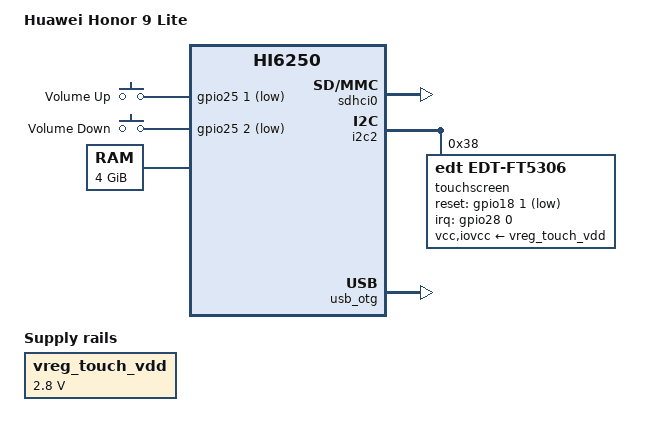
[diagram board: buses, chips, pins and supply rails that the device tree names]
// SPDX-License-Identifier: GPL-2.0-only
/*
 * Device tree for Huawei Honor 9 Lite (LLD-L31)
 *
 * Copyright (C) 2026
 */

/dts-v1/;

#include "hi6250.dtsi"
#include "hi6250-pinctrl.dtsi"
#include "hi6250-huawei-bl-quirks.dtsi"
#include <dt-bindings/input/linux-event-codes.h>
#include <dt-bindings/interrupt-controller/irq.h>

/ {
	model = "Huawei Honor 9 Lite";
	compatible = "huawei,leland", "hisilicon,hi6250";
	chassis-type = "handset";

	aliases {

	};

	/*
	 * Fixed regulator standing in for the PMIC LDOs (ldo17 vci,
	 * ldo4 vddio) that power the touchscreen. The Huawei BL has
	 * already enabled both rails by the time the kernel takes over;
	 * since we don't bind the PMIC driver in mainline (it crashes
	 * Sxmo — see project_leland_pmic_chip.md), nothing in the kernel
	 * touches them. Declaring an always-on fixed regulator here
	 * satisfies cypress,tt21000's required `vdd-supply` binding
	 * without the kernel having to control the rail.
	 */
	vreg_touch_vdd: regulator-touch-vdd {
		compatible = "regulator-fixed";
		regulator-name = "touch-vdd";
		regulator-min-microvolt = <2800000>;
		regulator-max-microvolt = <2800000>;
		regulator-always-on;
		regulator-boot-on;
	};

	gpio-keys {
		compatible = "gpio-keys";
		autorepeat;

		key-vol-up {
			label = "Volume Up";
			gpios = <&gpio25 1 GPIO_ACTIVE_LOW>;
			linux,code = <KEY_VOLUMEUP>;
			debounce-interval = <50>;
		};

		key-vol-down {
			label = "Volume Down";
			gpios = <&gpio25 2 GPIO_ACTIVE_LOW>;
			linux,code = <KEY_VOLUMEDOWN>;
			debounce-interval = <50>;
		};
	};

	memory@0 {
		device_type = "memory";
		reg = <0x0 0x00400000 0x0 0xDFC00000>,	/* 0x00400000 - 0xDFFFFFFF */
		      <0x1 0x00000000 0x0 0x20000000>;	/* 0x100000000 - 0x11FFFFFFF */
	};

	chosen {
		bootargs = "console=tty0 loglevel=8 root=/dev/mmcblk0p51 rootfstype=ext4 rw rootwait";

		#address-cells = <2>;
		#size-cells = <2>;
		ranges;

		stdout-path = "framebuffer0";

		framebuffer0: framebuffer@5d000000 {
			compatible = "simple-framebuffer";
			reg = <0 0x5d000000 0 (1080 * 2160 * 4)>;
			width = <1080>;
			height = <2160>;
			stride = <(1080 * 4)>;
			format = "a8r8g8b8";
			status = "okay";
		};
	};

	reserved-memory {
		#address-cells = <2>;
		#size-cells = <2>;
		ranges;

		/* Bootloader framebuffer - keep for simplefb */
		framebuffer_reserved: framebuffer@5d000000 {
			reg = <0x0 0x5d000000 0x0 0x8E6000>;
			no-map;
		};

		/*
		 * The Huawei BL reserves 0x34800000-0x348fffff for its own
		 * `pstore-mem` and clobbers it on cold boot, so a ramoops
		 * region at that address never captures console data across
		 * a reset. Move into the gap between isp-boot@34b00000 (ends
		 * 0x34b1ffff) and hifi-data@34f00000 (starts 0x34f00000).
		 * 0x34c00000 has been verified to survive BL hand-off.
		 */
		ramoops@34c00000 {
			compatible = "ramoops";
			reg = <0x0 0x34c00000 0x0 0x100000>;
			record-size = <0x20000>;
			pmsg-size = <0x20000>;
			console-size = <0x80000>;
			ftrace-size = <0x00000>;
		};
	};

};

/*
 * Powerhold pin — pulling gpio25 pin 4 low tells the PMIC enable
 * hold input to release main rails (the only software-triggerable
 * true power-off on this board). Per stock `hisi,powerhold` node
 * across all LLD-* DTBs in backup/partitions/dts.img: PL061 base
 * 0xfff0e000 (gpio25), offset 4, ACTIVE_HIGH-while-running so
 * driving low cuts power.
 *
 * Used by hi6250-reboot.c via `huawei,powerhold-gpios` instead of
 * the generic gpio-poweroff driver — the generic driver toggles
 * LOW→HIGH→LOW which the hi6555c PMIC seems to mis-debounce. The
 * downstream Huawei kernel issues a single LOW pulse and waits.
 */
&hi6250_reboot {
	huawei,powerhold-gpios = <&gpio25 4 GPIO_ACTIVE_LOW>;
};

/* Enable eMMC */
&sdhci0 {
	status = "okay";
};

/*
 * Pinmux + pad-config controllers must be on for the i2c2 pinctrl
 * references below to do anything. pmx0/pmx1 are mux registers
 * (M0/M1/M2 etc.); pmx2/pmx3 are pad config (pull, drive strength,
 * slew). hi6250-pinctrl.dtsi defines i2c2_pmx_func in pmx1 and
 * i2c2_cfg_func in pmx3, both of which need to be probed.
 */
&pmx0 { status = "okay"; };
&pmx1 { status = "okay"; };
&pmx2 { status = "okay"; };
&pmx3 { status = "okay"; };

/*
 * Enable i2c2 for the touchscreen. The stock LLD-* DTBs probe three
 * touchscreen vendors on i2c2 (parade @ 0x1c, focaltech @ 0x38,
 * goodix @ 0x14) and bind whichever responds. On this LLD-L31 unit
 * a manual i2c bus scan after enabling LDO17 finds a device at
 * 0x38 — so the panel is FocalTech FT5x06-family. Mainline
 * `edt-ft5x06` driver supports it via `edt,edt-ft5306` (4.3"-7"
 * panels — Honor 9 Lite is 5.65").
 *
 * IRQ on gpio28 pin 0, reset on gpio18 pin 1 (same wiring used for
 * all three vendors per stock ts_kit).
 */
&i2c2 {
	status = "okay";
	pinctrl-names = "default";
	pinctrl-0 = <&i2c2_pmx_func &i2c2_cfg_func>;
	#address-cells = <1>;
	#size-cells = <0>;

	touchscreen@38 {
		compatible = "edt,edt-ft5306";
		reg = <0x38>;
		interrupt-parent = <&gpio28>;
		interrupts = <0 IRQ_TYPE_EDGE_FALLING>;
		reset-gpios = <&gpio18 1 GPIO_ACTIVE_LOW>;
		vcc-supply = <&vreg_touch_vdd>;
		iovcc-supply = <&vreg_touch_vdd>;
		touchscreen-size-x = <1080>;
		touchscreen-size-y = <2160>;
	};
};

/* Enable USB2 OTG */
&usb_otg {
	status = "okay";
	/*
	 * Empirical: with the CTRL0 bit-layout fix in place, this is the
	 * value that lets the HS chirp succeed and the gadget enumerate
	 * (also matches downstream linux-huawei-leland DTS). The stock-BL
	 * handoff value 0x05cd06db produces FS-only / EPROTO chaos.
	 */
	hisilicon,eye-diagram-param = <0x059066DB>;
};

/*
 * NOTE: tried enabling &pmic (hisilicon,hi655x-pmic) with
 * pmic-gpios = <&gpio23 7 GPIO_ACTIVE_HIGH> to bring up the powerkey
 * sub-driver. Booted past Sxmo UI, then hard-reset within seconds —
 * even with regulator-always-on on every dtsi-listed LDO. Downstream
 * ramoops shows the chip is actually "hi6555c", which may differ from
 * the hi655x register layout the mainline driver assumes. Powerkey
 * needs a different approach (custom driver against the working
 * pmic_rtc reg window, or get the IRQ chip without the regulator
 * sub-device).
 */

